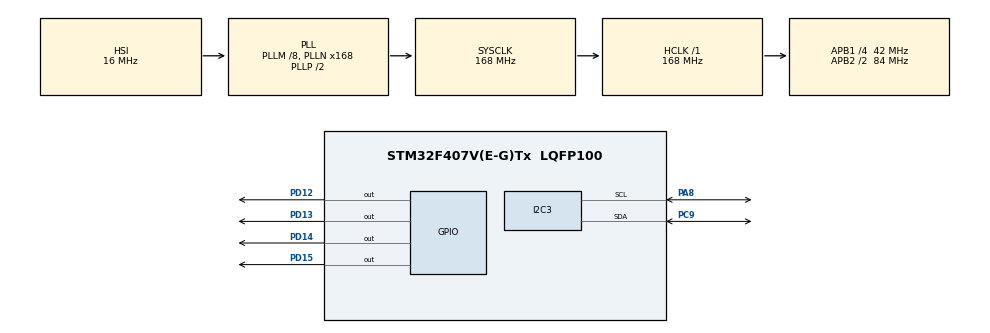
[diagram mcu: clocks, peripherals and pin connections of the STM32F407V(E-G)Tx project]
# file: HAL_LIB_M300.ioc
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Mcu.Family=STM32F4
Mcu.Name=STM32F407V(E-G)Tx
Mcu.Package=LQFP100
NVIC.PriorityGroup=NVIC_PRIORITYGROUP_4
PA8.Mode=I2C
PA8.Signal=I2C3_SCL
PC9.Mode=I2C
PC9.Signal=I2C3_SDA
PD12.Signal=GPIO_Output
PD13.Signal=GPIO_Output
PD14.Signal=GPIO_Output
PD15.Signal=GPIO_Output
ProjectManager.HeapSize=0x200
ProjectManager.StackSize=0x400
ProjectManager.TargetToolchain=STM32CubeIDE
RCC.48MHZClocksFreq_Value=84000000
RCC.AHBFreq_Value=168000000
RCC.APB1CLKDivider=RCC_HCLK_DIV4
RCC.APB1Freq_Value=42000000
RCC.APB1TimFreq_Value=84000000
RCC.APB2CLKDivider=RCC_HCLK_DIV2
RCC.APB2Freq_Value=84000000
RCC.APB2TimFreq_Value=168000000
RCC.CortexFreq_Value=168000000
RCC.HCLKFreq_Value=168000000
RCC.HSE_VALUE=25000000
RCC.HSI_VALUE=16000000
RCC.LSE_VALUE=32768
RCC.PLLM=8
RCC.PLLN=168
RCC.SYSCLKFreq_VALUE=168000000
RCC.SYSCLKSource=RCC_SYSCLKSOURCE_PLLCLK
RCC.VCOOutputFreq_Value=336000000
board=custom

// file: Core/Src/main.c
/* USER CODE BEGIN Header */
/**
  ******************************************************************************
  * @file           : main.c
  * @brief          : Main program body
  ******************************************************************************
  * @attention
  *
  * Copyright (c) 2022 STMicroelectronics.
  * All rights reserved.
  *
  * This software is licensed under terms that can be found in the LICENSE file
  * in the root directory of this software component.
  * If no LICENSE file comes with this software, it is provided AS-IS.
  *
  ******************************************************************************
  */
/* USER CODE END Header */
#include "main.h"

/* USER CODE BEGIN Includes */
#include "stdio.h"
#include "math.h"
#include "string.h"
#include "stdlib.h"
#include "stdbool.h"

/* USER CODE END Includes */

/* USER CODE BEGIN PD */
#define adrs 0x76
#define rst 0x1E
#define d1pres 0x48
//#define adcRead 0x00
/* USER CODE END PD */

I2C_HandleTypeDef hi2c3;

/* USER CODE BEGIN PV */
uint8_t promRead[8], readD1[8], readD2[8], readADC[24],  gelenProm[8], gelenD1[8], gelenD2[8], gelenADC[24];
uint8_t promRaw[8], D1Raw[8], D2Raw[8],adcRaw[24];

/* USER CODE END PV */

void SystemClock_Config(void);
static void MX_GPIO_Init(void);
static void MX_I2C3_Init(void);

int main(void)
{
  /* USER CODE BEGIN 1 */
	HAL_I2C_Master_Transmit(&hi2c3, adrs, rst, 8, HAL_MAX_DELAY);
  /* USER CODE END 1 */

  /* MCU Configuration--------------------------------------------------------*/

  /* Reset of all peripherals, Initializes the Flash interface and the Systick. */
  HAL_Init();

  /* Configure the system clock */
  SystemClock_Config();

  /* Initialize all configured peripherals */
  MX_GPIO_Init();
  MX_I2C3_Init();

  /* Infinite loop */
  while (1)
  {

    /* USER CODE BEGIN 3 */
	  HAL_I2C_Master_Transmit(&hi2c3, adrs, 0xA6, 8, HAL_MAX_DELAY);
	  HAL_I2C_Master_Receive(&hi2c3, adrs, promRead, 8, HAL_MAX_DELAY);
	  promRaw[0] = (promRead [0] << 8 | promRead[1] );
	  promRaw[1] = (promRead [2] << 8 | promRead[3] );
	  promRaw[2] = (promRead [4] << 8 | promRead[5] );
	  promRaw[3] = (promRead [6] << 8 | promRead[7] );
	  promRaw[4] = (promRead [8] << 8 | promRead[9] );
	  promRaw[5] = (promRead [10] << 8 | promRead[11] );
	  promRaw[6] = (promRead [12] << 8 | promRead[13] );
	  promRaw[5] = (promRead [14] << 8 | promRead[15] );

	  HAL_I2C_Master_Transmit(&hi2c3, adrs, 0x48, 8, HAL_MAX_DELAY);

	  HAL_I2C_Master_Transmit(&hi2c3, adrs, 0x00, 8, HAL_MAX_DELAY);
	  HAL_I2C_Master_Receive(&hi2c3, adrs, readADC, 24, HAL_MAX_DELAY);
	  adcRaw[0] = (readADC [0] << 8 | readADC[1] );
	  adcRaw[1] = (readADC [2] << 8 | readADC[3] );
	  adcRaw[2] = (readADC [4] << 8 | readADC[5] );
	  adcRaw[3] = (readADC [6] << 8 | readADC[7] );
	  adcRaw[4] = (readADC [8] << 8 | readADC[9] );
	  adcRaw[5] = (readADC [10] << 8 | readADC[11] );
	  adcRaw[6] = (readADC [12] << 8 | readADC[13] );
	  adcRaw[7] = (readADC [14] << 8 | readADC[15] );
	  adcRaw[8] = (readADC [16] << 8 | readADC[17] );
	  adcRaw[9] = (readADC [18] << 8 | readADC[19] );
	  adcRaw[10] = (readADC [20] << 8 | readADC[21] );
	  adcRaw[11] = (readADC [22] << 8 | readADC[23] );

			  //gyro_raw[0] = (cuffer[0] << 8 | cuffer[1]);
  }
  /* USER CODE END 3 */
}

void SystemClock_Config(void)
{
  RCC_OscInitTypeDef RCC_OscInitStruct = {0};
  RCC_ClkInitTypeDef RCC_ClkInitStruct = {0};

  /** Configure the main internal regulator output voltage
  */
  __HAL_RCC_PWR_CLK_ENABLE();
  __HAL_PWR_VOLTAGESCALING_CONFIG(PWR_REGULATOR_VOLTAGE_SCALE1);
  /** Initializes the RCC Oscillators according to the specified parameters
  * in the RCC_OscInitTypeDef structure.
  */
  RCC_OscInitStruct.OscillatorType = RCC_OSCILLATORTYPE_HSI;
  RCC_OscInitStruct.HSIState = RCC_HSI_ON;
  RCC_OscInitStruct.HSICalibrationValue = RCC_HSICALIBRATION_DEFAULT;
  RCC_OscInitStruct.PLL.PLLState = RCC_PLL_ON;
  RCC_OscInitStruct.PLL.PLLSource = RCC_PLLSOURCE_HSI;
  RCC_OscInitStruct.PLL.PLLM = 8;
  RCC_OscInitStruct.PLL.PLLN = 168;
  RCC_OscInitStruct.PLL.PLLP = RCC_PLLP_DIV2;
  RCC_OscInitStruct.PLL.PLLQ = 4;
  if (HAL_RCC_OscConfig(&RCC_OscInitStruct) != HAL_OK)
  {
    Error_Handler();
  }
  /** Initializes the CPU, AHB and APB buses clocks
  */
  RCC_ClkInitStruct.ClockType = RCC_CLOCKTYPE_HCLK|RCC_CLOCKTYPE_SYSCLK
                              |RCC_CLOCKTYPE_PCLK1|RCC_CLOCKTYPE_PCLK2;
  RCC_ClkInitStruct.SYSCLKSource = RCC_SYSCLKSOURCE_PLLCLK;
  RCC_ClkInitStruct.AHBCLKDivider = RCC_SYSCLK_DIV1;
  RCC_ClkInitStruct.APB1CLKDivider = RCC_HCLK_DIV4;
  RCC_ClkInitStruct.APB2CLKDivider = RCC_HCLK_DIV2;

  if (HAL_RCC_ClockConfig(&RCC_ClkInitStruct, FLASH_LATENCY_5) != HAL_OK)
  {
    Error_Handler();
  }
}

static void MX_I2C3_Init(void)
{

  hi2c3.Instance = I2C3;
  hi2c3.Init.ClockSpeed = 100000;
  hi2c3.Init.DutyCycle = I2C_DUTYCYCLE_2;
  hi2c3.Init.OwnAddress1 = 0;
  hi2c3.Init.AddressingMode = I2C_ADDRESSINGMODE_7BIT;
  hi2c3.Init.DualAddressMode = I2C_DUALADDRESS_DISABLE;
  hi2c3.Init.OwnAddress2 = 0;
  hi2c3.Init.GeneralCallMode = I2C_GENERALCALL_DISABLE;
  hi2c3.Init.NoStretchMode = I2C_NOSTRETCH_DISABLE;
  if (HAL_I2C_Init(&hi2c3) != HAL_OK)
  {
    Error_Handler();
  }

}

static void MX_GPIO_Init(void)
{
  GPIO_InitTypeDef GPIO_InitStruct = {0};

  /* GPIO Ports Clock Enable */
  __HAL_RCC_GPIOD_CLK_ENABLE();
  __HAL_RCC_GPIOC_CLK_ENABLE();
  __HAL_RCC_GPIOA_CLK_ENABLE();

  /*Configure GPIO pin Output Level */
  HAL_GPIO_WritePin(GPIOD, GPIO_PIN_12|GPIO_PIN_13|GPIO_PIN_14|GPIO_PIN_15, GPIO_PIN_RESET);

  /*Configure GPIO pins : PD12 PD13 PD14 PD15 */
  GPIO_InitStruct.Pin = GPIO_PIN_12|GPIO_PIN_13|GPIO_PIN_14|GPIO_PIN_15;
  GPIO_InitStruct.Mode = GPIO_MODE_OUTPUT_PP;
  GPIO_InitStruct.Pull = GPIO_NOPULL;
  GPIO_InitStruct.Speed = GPIO_SPEED_FREQ_LOW;
  HAL_GPIO_Init(GPIOD, &GPIO_InitStruct);

}

void Error_Handler(void)
{
  __disable_irq();
  while (1)
  {
  }
}
